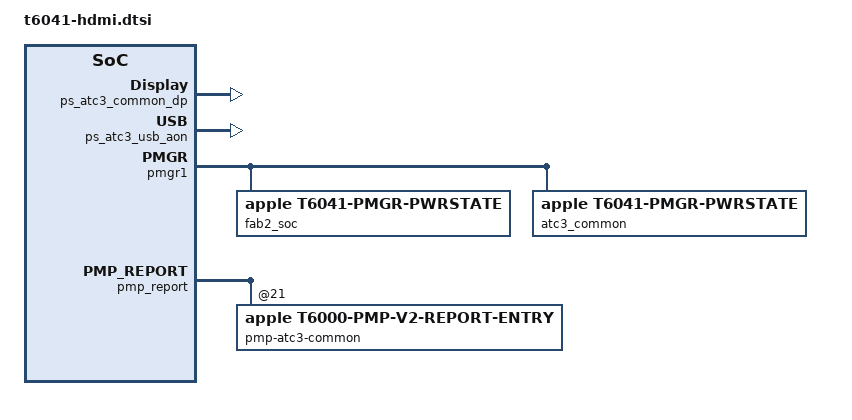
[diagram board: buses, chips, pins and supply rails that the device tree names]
// SPDX-License-Identifier: GPL-2.0+ OR MIT
/* EXPERIMENTAL: J616c external controller, verified native 26.6.2 resources.
 * The fixed HDMI link uses ATC PHY3, not the base M4's dedicated DPTX PHY.
 */
#include <dt-bindings/phy/phy.h>
/ {
	aliases {
		dcpext0 = &dcpext0;
		dispext0_piodma = &dispext0_piodma;
	};
};

&{/soc} {
	pinctrl_aop: pinctrl@510824000 {
		compatible = "apple,t6041-pinctrl", "apple,t8103-pinctrl";
		reg = <5 0x10824000 0 0x4000>;
		gpio-controller;
		#gpio-cells = <2>;
		gpio-ranges = <&pinctrl_aop 0 0 85>;
		apple,npins = <85>;
		interrupt-controller;
		#interrupt-cells = <2>;
		interrupt-parent = <&aic>;
		interrupts = <AIC_IRQ 700 IRQ_TYPE_LEVEL_HIGH>,
			     <AIC_IRQ 701 IRQ_TYPE_LEVEL_HIGH>,
			     <AIC_IRQ 702 IRQ_TYPE_LEVEL_HIGH>,
			     <AIC_IRQ 703 IRQ_TYPE_LEVEL_HIGH>,
			     <AIC_IRQ 704 IRQ_TYPE_LEVEL_HIGH>,
			     <AIC_IRQ 705 IRQ_TYPE_LEVEL_HIGH>,
			     <AIC_IRQ 706 IRQ_TYPE_LEVEL_HIGH>;
	};

	atcphy3_dpxbar: mux@39b24c000 {
		compatible = "apple,t6040-display-crossbar", "apple,t6020-display-crossbar";
		reg = <3 0x9b24c000 0 0x4000>;
		#mux-control-cells = <1>;
		power-domains = <&ps_atc3_phymxwrap>;
	};

	atcphy3: phy@39b000000 {
		compatible = "apple,t6040-atcphy";
		reg = <3 0x9b000000 0 0x60000>,
		      <3 0x9b200000 0 0x4000>,
		      <3 0x9b244000 0 0x4000>,
		      <3 0x9b250000 0 0x4000>;
		reg-names = "core", "power", "fabric", "common";
		#phy-cells = <1>;
		apple,fixed-dp;
		mode-switch;
		power-domains = <&ps_atc3_usb_aon>, <&pmp_report_atc3>,
				<&ps_atc3_phymxwrap>, <&ps_atc3_common_dp>;

		ports {
			#address-cells = <1>;
			#size-cells = <0>;
			port@2 {
				reg = <2>;
				atcphy3_dp: endpoint {
					remote-endpoint = <&dcpext0_dp>;
				};
			};
		};
	};

	dispext0_dart: iommu@3a2300000 {
		compatible = "apple,t6041-dart", "apple,t8110-dart";
		reg = <3 0xa2300000 0 0xc000>;
		#iommu-cells = <1>;
		interrupt-parent = <&aic>;
		interrupts = <AIC_IRQ 1165 IRQ_TYPE_LEVEL_HIGH>;
	};

	dcpext0_dart: iommu@3a2340000 {
		compatible = "apple,t6041-dart", "apple,t8110-dart";
		reg = <3 0xa2340000 0 0x20000>;
		#iommu-cells = <1>;
		interrupt-parent = <&aic>;
		interrupts = <AIC_IRQ 1165 IRQ_TYPE_LEVEL_HIGH>;
	};

	dcpext0_mbox: mailbox@3a2e08000 {
		compatible = "apple,t6041-asc-mailbox", "apple,asc-mailbox-v4";
		reg = <3 0xa2e08000 0 0x4000>;
		interrupt-parent = <&aic>;
		interrupts = <AIC_IRQ 1218 IRQ_TYPE_LEVEL_HIGH>,
			     <AIC_IRQ 1219 IRQ_TYPE_LEVEL_HIGH>,
			     <AIC_IRQ 1220 IRQ_TYPE_LEVEL_HIGH>,
			     <AIC_IRQ 1221 IRQ_TYPE_LEVEL_HIGH>;
		interrupt-names = "send-empty", "send-not-empty",
				  "recv-empty", "recv-not-empty";
		#mbox-cells = <0>;
	};

	dcpext0: dcp@3a2e00000 {
		compatible = "apple,t6041-dcpext", "apple,dcpext";
		#address-cells = <2>;
		#size-cells = <2>;
		mboxes = <&dcpext0_mbox>;
		mbox-names = "mbox";
		iommus = <&dcpext0_dart 23>;
		reg-names = "coproc", "disp-0", "disp-1", "disp-2", "disp-3";
		reg = <3 0xa2e00000 0 0x4000>,
		      <3 0xa0000000 0 0x4000000>,
		      <3 0xa2240000 0 0x10000>,
		      <3 0xa23a8000 0 0x4000>,
		      <3 0xa2800000 0 0x800000>;
		/* Captured external D003 response: PMGR scratch 0x50482c000. */
		apple,bw-scratch = <&pmgr_dcp 0 4 0x2c000>;
		apple,dcp-index = <1>;
		apple,dptx-phy = <3>;
		apple,connector-type = "HDMI-A";
		phys = <&atcphy3 PHY_TYPE_DP>;
		phy-names = "dp-phy";
		mux-controls = <&atcphy3_dpxbar 0>;
		mux-control-names = "dp-xbar";
		/* dispext0 stream0 is UFP0 in the Max's native crossbar. */
		mux-index = <0>;
		hdmi-hpd-gpios = <&pinctrl_aop 36 GPIO_ACTIVE_HIGH>;
		hdmi-pwren-gpios = <&smc_gpio 15 GPIO_ACTIVE_HIGH>;
		dp2hdmi-pwren-gpios = <&smc_gpio 26 GPIO_ACTIVE_HIGH>;
		clocks = <&clkref>;
		phandle = <&dcpext0>;
		/* m1n1 supplies firmware reservations/version before enabling it. */
		status = "disabled";

		dispext0_piodma: piodma {
			iommus = <&dispext0_dart 16>;
			phandle = <&dispext0_piodma>;
		};

		port {
			dcpext0_dp: endpoint {
				remote-endpoint = <&atcphy3_dp>;
			};
		};
	};
};

&display {
	iommus = <&disp0_dart 0>, <&dispext0_dart 0>;
};

&pmgr1 {
	ps_fab2_soc: power-controller@338 {
		compatible = "apple,t6041-pmgr-pwrstate", "apple,t8103-pmgr-pwrstate";
		reg = <0x338 4>;
		#power-domain-cells = <0>;
		#reset-cells = <0>;
		label = "fab2_soc";
		power-domains = <&ps_afi>;
	};
	ps_atc3_common: power-controller@408 {
		compatible = "apple,t6041-pmgr-pwrstate", "apple,t8103-pmgr-pwrstate";
		reg = <0x408 4>;
		#power-domain-cells = <0>;
		#reset-cells = <0>;
		label = "atc3_common";
		power-domains = <&ps_fab2_soc>;
	};
};

&pmp_report {
	pmp_report_atc3: report@21 {
		compatible = "apple,t6000-pmp-v2-report-entry";
		reg = <33>;
		label = "pmp-atc3-common";
		#power-domain-cells = <0>;
		power-domains = <&ps_atc3_common>;
	};
};

&{/soc} {
	pmgr3: power-management@508300000 {
		compatible = "apple,t6041-pmgr", "apple,t8103-pmgr", "syscon", "simple-mfd";
		#address-cells = <1>;
		#size-cells = <1>;
		reg = <5 0x08300000 0 0x4000>;

		ps_atc3_common_dp: power-controller@b8 {
			compatible = "apple,t6041-pmgr-pwrstate", "apple,t8103-pmgr-pwrstate";
			reg = <0xb8 4>;
			#power-domain-cells = <0>;
			#reset-cells = <0>;
			label = "atc3_common_dp";
		};
		ps_atc3_usb_aon: power-controller@e0 {
			compatible = "apple,t6041-pmgr-pwrstate", "apple,t8103-pmgr-pwrstate";
			reg = <0xe0 4>;
			#power-domain-cells = <0>;
			#reset-cells = <0>;
			label = "atc3_usb_aon";
		};
		ps_atc3_phymxwrap: power-controller@168 {
			compatible = "apple,t6041-pmgr-pwrstate", "apple,t8103-pmgr-pwrstate";
			reg = <0x168 4>;
			#power-domain-cells = <0>;
			#reset-cells = <0>;
			label = "atc3_phymxwrap";
			power-domains = <&pmp_report_atc3>, <&ps_atc3_usb_aon>;
		};
	};
};
